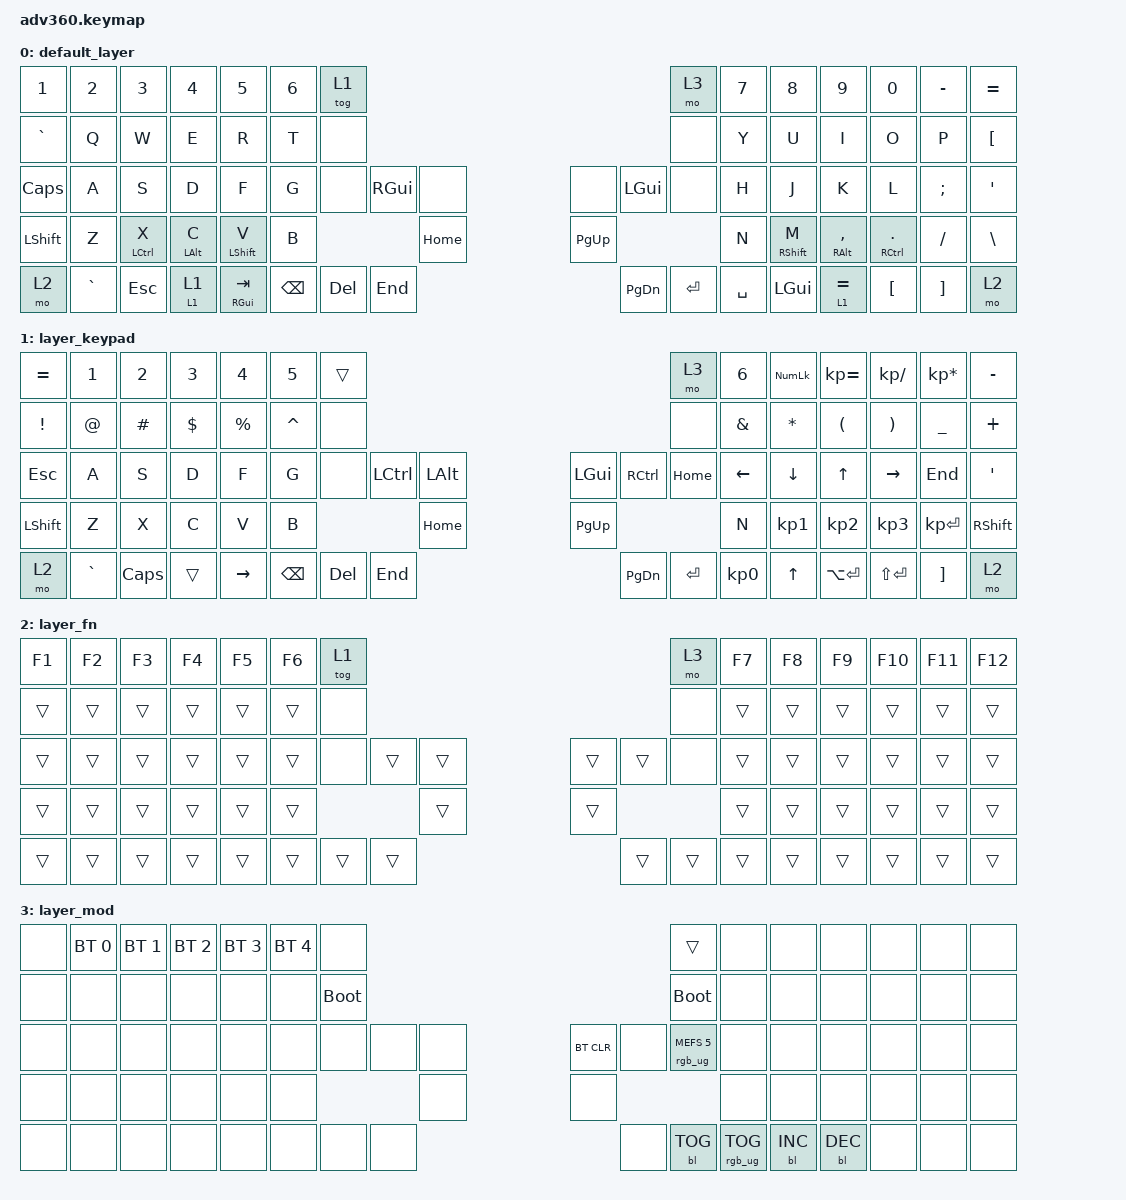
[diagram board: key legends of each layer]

/*
 * Copyright (c) 2020 The ZMK Contributors
 *
 * SPDX-License-Identifier: MIT
 */


/* THIS FILE WAS GENERATED!
 *
 * This file was generated automatically. You may or may not want to
 * edit it directly.
 */

#include <behaviors.dtsi>
#include <dt-bindings/zmk/keys.h>
#include <dt-bindings/zmk/bt.h>
#include <dt-bindings/zmk/rgb.h>
#include <dt-bindings/zmk/backlight.h>

/ {
  behaviors {
    #include "macros.dtsi"

    hm: homerow_mods {
        compatible = "zmk,behavior-hold-tap";
        label = "HOMEROW_MODS";
        #binding-cells = <2>;
        tapping-term-ms = <200>;
        quick_tap_ms = <175>;
        flavor = "tap-preferred";
        bindings = <&kp>, <&kp>;
    };
    mo_tog: behavior_mo_tog {
        compatible = "zmk,behavior-hold-tap";
        label = "mo_tog";
        #binding-cells = <2>;
        flavor = "hold-preferred";
        tapping-term-ms = <200>;
        bindings = <&mo>, <&tog>;
    };
  };

    keymap {
        compatible = "zmk,keymap";


        default_layer {
            bindings = <
    &kp N1     &kp N2       &kp N3       &kp N4        &kp N5  &kp N6       &tog 1                                                             &mo 3  &kp N7       &kp N8          &kp N9          &kp N0  &kp MINUS  &kp EQUAL
 &kp GRAVE      &kp Q        &kp W        &kp E         &kp R   &kp T        &none                                                             &none   &kp Y        &kp U           &kp I           &kp O      &kp P   &kp LBKT
  &kp CAPS      &kp A        &kp S        &kp D         &kp F   &kp G        &none  &kp RGUI      &none                &none   &kp LGUI        &none   &kp H        &kp J           &kp K           &kp L   &kp SEMI    &kp SQT
 &kp LSHFT      &kp Z  &hm LCTRL X   &hm LALT C   &hm LSHFT V   &kp B                          &kp HOME            &kp PG_UP                           &kp N  &hm RSHFT M  &hm RALT COMMA   &hm RCTRL DOT   &kp FSLH   &kp BSLH
     &mo 2  &kp GRAVE      &kp ESC  &mo_tog 1 1  &hm RGUI TAB             &kp BSPC   &kp DEL    &kp END            &kp PG_DN  &kp ENTER    &kp SPACE             &kp LGUI     &lt 1 EQUAL        &kp LBKT   &kp RBKT      &mo 2
            >;
        };

        layer_keypad {
            bindings = <
 &kp EQUAL     &kp N1    &kp N2    &kp N3     &kp N4    &kp N5              &trans                                                                 &mo 3    &kp N6  &kp KP_NUM  &kp KP_EQUAL  &kp KP_DIVIDE  &kp KP_MULTIPLY  &kp MINUS
  &kp EXCL      &kp AT  &kp HASH  &kp DLLR  &kp PRCNT &kp CARET               &none                                                                 &none  &kp AMPS   &kp ASTRK      &kp LPAR       &kp RPAR        &kp UNDER   &kp PLUS
   &kp ESC      &kp A     &kp S     &kp D      &kp F     &kp G               &none  &kp LCTRL  &kp LALT                   &kp LGUI  &kp RCTRL   &kp HOME  &kp LEFT    &kp DOWN        &kp UP      &kp RIGHT          &kp END    &kp SQT
 &kp LSHFT      &kp Z     &kp X     &kp C      &kp V     &kp B                                 &kp HOME                  &kp PG_UP                           &kp N   &kp KP_N1     &kp KP_N2      &kp KP_N3     &kp KP_ENTER  &kp RSHFT
     &mo 2  &kp GRAVE  &kp CAPS  &trans    &kp RIGHT                      &kp BSPC    &kp DEL   &kp END                  &kp PG_DN  &kp ENTER  &kp KP_N0                &kp UP  &kp LA(ENTER) &kp LS(ENTER)         &kp RBKT      &mo 2
            >;
        };

        layer_fn {
            bindings = <
 &kp F1  &kp F2  &kp F3  &kp F4  &kp F5  &kp F6            &tog 1                                                   &mo 3  &kp F7  &kp F8  &kp F9  &kp F10  &kp F11  &kp F12
 &trans  &trans  &trans  &trans  &trans  &trans             &none                                                   &none  &trans  &trans  &trans   &trans   &trans   &trans
 &trans  &trans  &trans  &trans  &trans  &trans             &none  &trans  &trans                  &trans  &trans   &none  &trans  &trans  &trans   &trans   &trans   &trans
 &trans  &trans  &trans  &trans  &trans  &trans                            &trans                  &trans                  &trans  &trans  &trans   &trans   &trans   &trans
 &trans  &trans  &trans  &trans  &trans                    &trans  &trans  &trans                  &trans  &trans  &trans          &trans  &trans   &trans   &trans   &trans
            >;
        };

        layer_mod {
            bindings = <
  &none  &bt BT_SEL 0  &bt BT_SEL 1  &bt BT_SEL 2  &bt BT_SEL 3  &bt BT_SEL 4                  &none                                                                          &trans   &none       &none       &none   &none   &none   &none
  &none         &none         &none         &none         &none         &none            &bootloader                                                                     &bootloader   &none       &none       &none   &none   &none   &none
  &none         &none         &none         &none         &none         &none                  &none   &none   &none                  &bt BT_CLR       &none  &rgb_ug RGB_MEFS_CMD 5   &none       &none       &none   &none   &none   &none
  &none         &none         &none         &none         &none         &none                                  &none                       &none                                       &none       &none       &none   &none   &none   &none
  &none         &none         &none         &none         &none                                &none   &none   &none                       &none  &bl BL_TOG         &rgb_ug RGB_TOG          &bl BL_INC  &bl BL_DEC   &none   &none   &none
            >;
        };

    };
};
